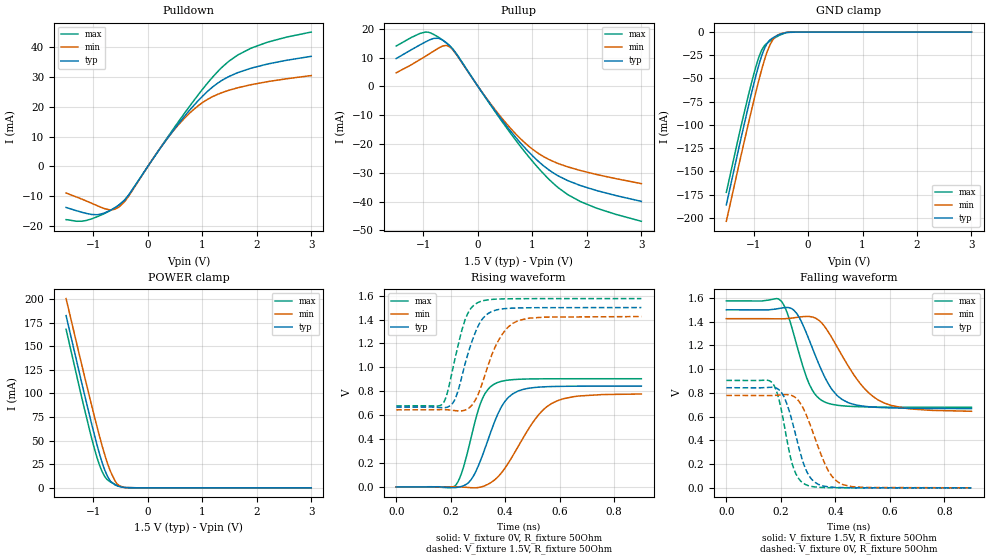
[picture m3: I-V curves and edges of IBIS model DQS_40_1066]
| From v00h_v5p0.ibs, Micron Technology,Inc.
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| MODEL DQS_40_1066 (40 Ohm Data Strobe I/O with no ODT, 800/1066Mbps)
[Model]   DQS_40_1066
Model_type   I/O
Vinl = 575.000mV
Vinh = 925.000mV
Vmeas = 750.000mV
Vref = 750.000mV
Cref = 0.0pF
Rref = 25.000Ohm
|   typ   min   max
|C_comp   1.100pF   1.025pF   1.175pF
C_comp_pullup   0.5500pF   0.5125pF   0.5875pF
C_comp_pulldown   0.5500pF   0.5125pF   0.5875pF
[Model Spec]
| Input threshold voltage corners
Vinl   0.5750V   0.5375V   0.6125V
Vinh   0.9250V   0.8875V   0.9625V
| Measurement voltage corners
Vmeas   0.7500V   0.7125V   0.7875V
| Timing spec test load voltage corners
Vref   0.7500V   0.7125V   0.7875V
| Dynamic Overshoot Parameters from DDR3 Specification
D_overshoot_ampl_h   0.40   NA   NA
D_overshoot_ampl_l   0.40   NA   NA
D_overshoot_area_h   0.19n   NA   NA
D_overshoot_area_l   0.19n   NA   NA
[Receiver Thresholds]
|Vth   =  0.750V
|Vth_min  =  0.7350V
|Vth_max  =  0.7650V
|Vinh_ac  =  0.175V
|Vinh_dc  =  0.100V
|Vinl_ac  = -0.175V
|Vinl_dc  = -0.100V
|Tslew_ac =  5.000ns |Not specified, so set to high value
|Threshold_sensitivity = 0.50
|Reference_supply Pullup_ref
Vcross_low   = 0.600V
Vcross_high  = 0.900V
Vdiff_ac   = 350mV
Vdiff_dc   = 200mV
Tdiffslew_ac = 10.000ns |Not specified, so set to high value
[Voltage Range]   1.5000V   1.4250V   1.5750V
[Pullup Reference]   1.5000V   1.4250V   1.5750V
| Junction Temperature (Ambient temp is 35C typ, 95C min, 0C max)
[Temperature Range]   50.0   110.0   0.0
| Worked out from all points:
|   slope of the pulldown table from 0 to 0.225 V, typ, clamps not added: 37.6 ohm
|   slope of the pullup table from 0 to 0.225 V, typ, clamps not added: 36.8 ohm
|   GND clamp passes 1 mA (typ) near -0.43 V on its own axis
|   POWER clamp passes 1 mA (typ) near -0.49 V on its own axis
|   falling waveform, V_fixture 1.5V, R_fixture 50Ohm: 20-80 % time 97.8ps typ, 136ps min, 73.3ps max; typ from 1.5 V to 0.668 V
|   rising waveform, V_fixture 0V, R_fixture 50Ohm: 20-80 % time 87.5ps typ, 132ps min, 64.7ps max; typ from 0 V to 0.843 V
|   rising waveform, V_fixture 1.5V, R_fixture 50Ohm: 20-80 % time 67.5ps typ, 81.9ps min, 57.3ps max; typ from 0.667 V to 1.5 V
|   falling waveform, V_fixture 0V, R_fixture 50Ohm: 20-80 % time 62.3ps typ, 79.9ps min, 49.4ps max; typ from 0.843 V to 0 V
[Pulldown]
|   Voltage   I(typ)   I(min)   I(max)
-1.5V     -13.72mA   -8.873mA   -17.78mA
-1.204V   -15.35mA   -10.97mA   -18.3mA
-929.8mV  -16.15mA   -13.12mA   -16.82mA
-597mV    -13.71mA   -14.24mA   -13.77mA
-343.5mV  -9.388mA   -9.733mA   -9.353mA
126mV     3.394mA    3.452mA    3.437mA
467.9mV   12.05mA    11.9mA     12.54mA
1.007V    23.56mA    21.41mA    25.88mA
1.348V    28.66mA    24.62mA    32.94mA
1.655V    31.43mA    26.36mA    37.33mA
2.183V    34.22mA    28.34mA    41.51mA
3V        36.86mA    30.42mA    44.99mA
[GND Clamp]
|   Voltage   I(typ)   I(min)   I(max)
-1.5V     -186mA     -203.8mA   -172.6mA
-1.273V   -125.6mA   -144.1mA   -112.4mA
-1.089V   -78.36mA   -96.93mA   -66.63mA
-984mV    -53.1mA    -71.02mA   -42.74mA
-904.5mV  -35.7mA    -52.28mA   -27.26mA
-838.5mV  -23.48mA   -37.79mA   -18.14mA
-760.5mV  -13.22mA   -22.94mA   -12.38mA
-689.2mV  -8.041mA   -12.72mA   -9.297mA
-576mV    -3.991mA   -3.955mA   -5.108mA
-399mV    -490.4uA   -394.7uA   -664.4uA
-148.7mV  -463.3nA   -1.097uA   -207.3nA
3V        0A         0A         0A
[Pullup]
|   Voltage   I(typ)   I(min)   I(max)
-1.5V     9.644mA    4.7mA      13.99mA
-961.4mV  15.42mA    10.46mA    18.84mA
-729mV    16.68mA    13.2mA     17.09mA
-522.4mV  14.12mA    13.72mA    14.14mA
-381mV    10.82mA    10.65mA    10.94mA
123.1mV   -3.381mA   -3.262mA   -3.475mA
493.6mV   -12.99mA   -12.28mA   -13.56mA
817.1mV   -20.41mA   -18.83mA   -21.72mA
1.202V    -27.54mA   -24.36mA   -30.28mA
1.485V    -31.19mA   -26.87mA   -35.34mA
1.883V    -34.44mA   -29.23mA   -40.01mA
3V        -39.93mA   -33.77mA   -46.84mA
[POWER Clamp]
|   Voltage   I(typ)   I(min)   I(max)
-1.5V     182.5mA    200.5mA    168mA
-1.231V   115.5mA    134.7mA    100.1mA
-1.05V    72.01mA    91.64mA    56.79mA
-954.2mV  50.28mA    69.72mA    36.29mA
-882.6mV  35.16mA    53.88mA    23.47mA
-788.1mV  18.63mA    34.62mA    11.85mA
-696.3mV  7.893mA    19.12mA    6.647mA
-602.2mV  3.086mA    7.416mA    3.706mA
-518.2mV  1.286mA    2.023mA    1.677mA
-411.3mV  232.9uA    278.1uA    282.9uA
-148.7mV  253.6nA    785.2nA    92.4nA
3V        0A         0A         0A
[Ramp]
R_load = 50
|   typ   min   max
dV/dt_r 5.0603E-01/8.7415E-11   4.6643E-01/1.3120E-10   5.4299E-01/6.4721E-11
dV/dt_f 4.9944E-01/9.7718E-11   4.6809E-01/1.3623E-10   5.3805E-01/7.3133E-11
[Falling Waveform]
V_fixture = 1.5V
V_fixture_min = 1.425V
V_fixture_max = 1.575V
R_fixture = 50Ohm
C_fixture = 0F
|   Time   V(typ)   V(min)   V(max)
0s        1.5V       1.425V     1.575V
200ps     1.514V     1.424V     1.577V
226ps     1.519V     1.426V     1.457V
260ps     1.464V     1.436V     1.19V
306ps     1.235V     1.443V     866.1mV
362ps     929.7mV    1.355V     722.5mV
426ps     742.9mV    1.109V     691mV
494ps     691mV      871.4mV    683mV
560ps     677.2mV    736.8mV    680.3mV
900ps     667.6mV    644.9mV    678.3mV
[Rising Waveform]
V_fixture = 0V
V_fixture_min = 0V
V_fixture_max = 0V
R_fixture = 50Ohm
C_fixture = 0F
|   Time   V(typ)   V(min)   V(max)
0s        0V         1.701uV    -664.6nV
218ps     -5.04mV    1.551mV    14.73mV
240ps     5.045mV    -381.8uV   115.9mV
266ps     37.62mV    -4.655mV   328.1mV
312ps     236mV      225.8uV    714.4mV
368ps     583.4mV    72.86mV    869.4mV
428ps     778.9mV    261.1mV    897.4mV
510ps     832.1mV    566.9mV    903.7mV
570ps     839.6mV    697mV      904.6mV
900ps     843.4mV    777.4mV    905mV
[Rising Waveform]
V_fixture = 1.5V
V_fixture_min = 1.425V
V_fixture_max = 1.575V
R_fixture = 50Ohm
C_fixture = 0F
|   Time   V(typ)   V(min)   V(max)
0s        667.3mV    644.9mV    678.2mV
172ps     663mV      646.6mV    699.5mV
190ps     669.4mV    644.9mV    806.7mV
214ps     725.5mV    639.2mV    1.054V
252ps     1.022V     641.6mV    1.393V
274ps     1.189V     674.2mV    1.492V
304ps     1.36V      792.6mV    1.546V
376ps     1.484V     1.227V     1.571V
448ps     1.497V     1.391V     1.574V
900ps     1.5V       1.425V     1.575V
[Falling Waveform]
|Gnd
V_fixture = 0V
V_fixture_min = 0V
V_fixture_max = 0V
R_fixture = 50Ohm
C_fixture = 0F
|   Time   V(typ)   V(min)   V(max)
0s        843.4mV    778.4mV    905mV
170ps     846.9mV    777.7mV    880.4mV
190ps     831.8mV    780.5mV    772.3mV
208ps     782.4mV    784.1mV    585.4mV
246ps     522mV      771.8mV    172.1mV
294ps     143.3mV    611.6mV    24.48mV
326ps     45.42mV    415mV      7.282mV
374ps     8.477mV    145.8mV    1.685mV
426ps     1.981mV    29.26mV    558uV
900ps     4.997uV    38.63uV    1.066uV
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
